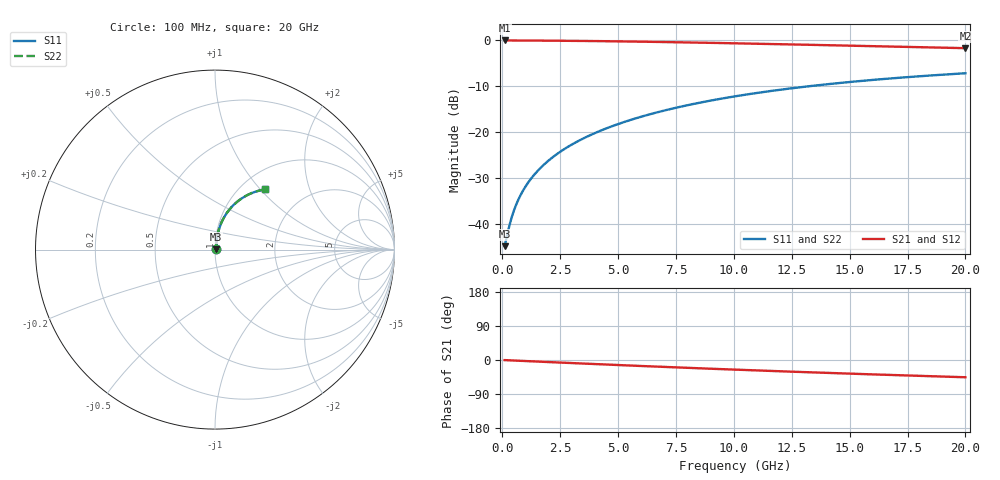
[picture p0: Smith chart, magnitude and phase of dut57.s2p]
! Touchstone file exported from HFSS 2024.1.0
!  File:  C:/UserFiles/LocalFiles/RDL_TSV_Batchsim/temp_RDL_top_57_1778681572.aedt
!  Generated:  10:15:00 PM May 13, 2026
!  Design:  RDL_top
!  Project:  temp_RDL_top_57_1778681572
!  Setup:  Setup1
!  Solution:  Sweep
! Variables:
!  dtsv = 10.80580581um
!  hbump = 3um
!  htsv = 54.13um
!  ldown = 100um
!  lrdl = 637.85um
!  p = 40
!  p1 = 45.65um
!  rhole = 1um
!  t = 450um
!  tdown = 3.915915916um
!  trdl = 2.66um
!  wdown = 15.38538539um
!  wrdl = 17.24um
# GHz S MA R 50.000000
! Terminal data exported
! Port[1] = Box2_T1
! Port[2] = Box2_T2
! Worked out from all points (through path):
!   200 points, 100 MHz to 20 GHz, reference 50 ohm
!   highest |S21| = -0.04 dB at 100 MHz (marker M1); lowest = -1.7 dB at 20 GHz (marker M2)
!   group delay of S21, straight-line fit = 6.31 ps
!   lowest |S11| = -44.9 dB at 100 MHz (marker M3), VSWR 1.01, Z = 50.5 + j0.265 ohm
!   |S11| at or under -10 dB: start of sweep to 13.27 GHz
!   |S22| runs from -44.9 to -7.2 dB; largest |S21 - S12| = 3.4e-15
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0.1  0.005719 27.3  0.9949 -0.3  0.9949 -0.3  0.005719 27.3
! Gamma 0 0 0 0
! Port Impedance 50 0 50 0
0.3  0.009433 55.2  0.9946 -0.9  0.9946 -0.9  0.009433 55.2
0.4  0.01166 61.4  0.9944 -1.1  0.9944 -1.1  0.01166 61.4
0.5  0.01393 65.4  0.9941 -1.4  0.9941 -1.4  0.01393 65.4
0.6  0.01623 68.3  0.9939 -1.7  0.9939 -1.7  0.01623 68.3
0.7  0.01853 70.4  0.9937 -2.0  0.9937 -2.0  0.01853 70.4
0.9  0.02314 73.4  0.9932 -2.5  0.9932 -2.5  0.02314 73.4
1.2  0.03011 76.2  0.9924 -3.3  0.9924 -3.3  0.03011 76.2
1.4  0.03479 77.4  0.9919 -3.8  0.9919 -3.8  0.03479 77.4
1.7  0.04186 78.6  0.991 -4.6  0.991 -4.6  0.04187 78.6
2.2  0.05377 79.7  0.9892 -6.0  0.9892 -6.0  0.05378 79.7
2.8  0.06823 80.2  0.9866 -7.6  0.9866 -7.6  0.06823 80.2
3.5  0.08527 80.0  0.9829 -9.4  0.9829 -9.4  0.08527 80.0
4.2  0.1025 79.5  0.9785 -11.3  0.9785 -11.3  0.1025 79.5
5  0.1222 78.6  0.9729 -13.3  0.9729 -13.3  0.1222 78.6
5.9  0.1445 77.3  0.9658 -15.6  0.9658 -15.6  0.1446 77.3
6.8  0.1668 75.8  0.9581 -17.8  0.9581 -17.8  0.1668 75.8
8.4  0.2059 72.8  0.9431 -21.6  0.9431 -21.6  0.2059 72.8
10.1  0.2462 69.4  0.9259 -25.5  0.9259 -25.5  0.2463 69.4
13.4  0.3189 62.7  0.8908 -32.7  0.8908 -32.7  0.3189 62.7
16.7  0.3826 56.2  0.855 -39.4  0.855 -39.4  0.3827 56.2
20  0.4371 50.1  0.82 -45.5  0.82 -45.5  0.4372 50.1
